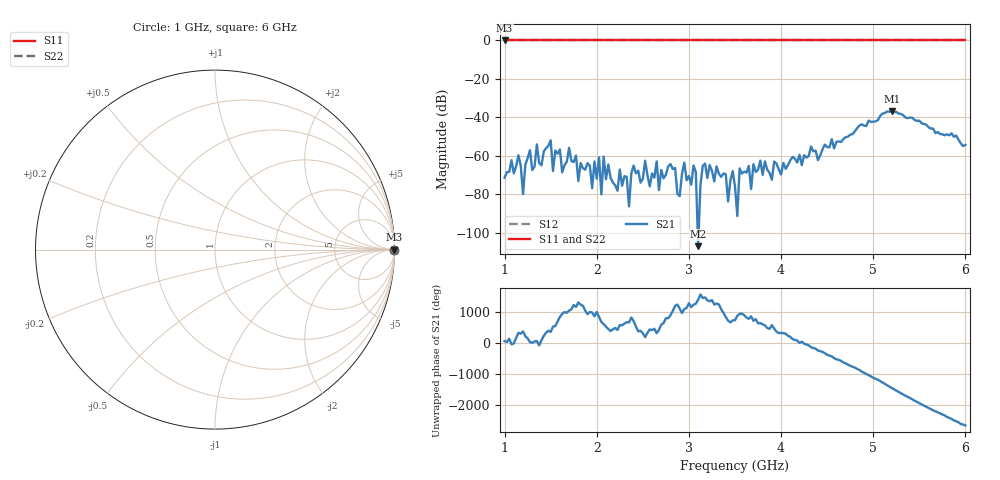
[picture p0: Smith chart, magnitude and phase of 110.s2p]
!Keysight Technologies N9926A: A.08.19
!Date: Sunday, 01 March 2026 13:40:07
!Timezone: (GMT-06:00) Central Time (US & Canada)
!Model: N9926A
!Serial: MY53102721
!GPS Latitude:
!GPS Longitude:
!GPS TimeStamp: 0001-01-01 00:00:00Z
!GPS Seconds Since Last Read: 0
!CHECKSUM:1146304121
!Correction: S11()S21(ON U)S12()S22()
!S2P File: Measurements:S11,S21,S12,S22:
# Hz S DB R 50
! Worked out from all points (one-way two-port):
!   201 points, 1 GHz to 6 GHz, reference 50 ohm
!   highest |S21| = -36.92 dB at 5.2 GHz (marker M1); lowest = -107.0 dB at 3.1 GHz (marker M2)
!   lowest |S11| = 0.0 dB at 1 GHz (marker M3)
!   |S11| at or under -10 dB: nowhere
!   |S22| runs from 0.0 to 0.0 dB; largest |S21 - S12| = 1
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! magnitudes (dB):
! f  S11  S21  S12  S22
! 1 GHz  0.0  -71.4  0.0  0.0
! 1.15 GHz  0.0  -59.8  0.0  0.0
! 1.2 GHz  0.0  -79.9  0.0  0.0
! 1.275 GHz  0.0  -57.1  0.0  0.0
! 1.5 GHz  0.0  -51.9  0.0  0.0
! 1.525 GHz  0.0  -67.9  0.0  0.0
! 1.85 GHz  0.0  -66.5  0.0  0.0
! 2.05 GHz  0.0  -80.1  0.0  0.0
! 2.075 GHz  0.0  -60.4  0.0  0.0
! 2.35 GHz  0.0  -86.3  0.0  0.0
! 2.65 GHz  0.0  -62.9  0.0  0.0
! 2.675 GHz  0.0  -77.9  0.0  0.0
! 2.8 GHz  0.0  -64.3  0.0  0.0
! 2.9 GHz  0.0  -81.0  0.0  0.0
! 2.95 GHz  0.0  -63.6  0.0  0.0
! 3.1 GHz  0.0  -107.0  0.0  0.0
! 3.175 GHz  0.0  -64.1  0.0  0.0
! 3.5 GHz  0.0  -75.9  0.0  0.0
! 4.35 GHz  0.0  -57.7  0.0  0.0
! 5.175 GHz  0.0  -37.1  0.0  0.0
! 5.2 GHz  0.0  -36.9  0.0  0.0
! 6 GHz  0.0  -54.3  0.0  0.0
